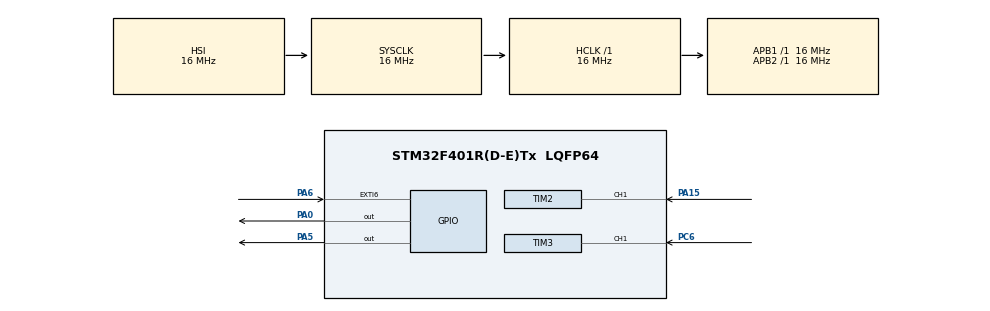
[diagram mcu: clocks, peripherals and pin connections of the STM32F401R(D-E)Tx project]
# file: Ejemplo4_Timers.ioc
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Mcu.Family=STM32F4
Mcu.Name=STM32F401R(D-E)Tx
Mcu.Package=LQFP64
NVIC.PriorityGroup=NVIC_PRIORITYGROUP_4
NVIC.TIM1_UP_TIM10_IRQn=true\:1\:0\:true\:false\:true\:true\:true\:true
PA0-WKUP.Signal=GPIO_Output
PA15.GPIO_PuPd=GPIO_NOPULL
PA15.Signal=S_TIM2_CH1_ETR
PA5.Signal=GPIO_Output
PA6.Signal=GPXTI6
PC6.Signal=S_TIM3_CH1
ProjectManager.HeapSize=0x200
ProjectManager.StackSize=0x400
ProjectManager.TargetToolchain=STM32CubeIDE
RCC.AHBFreq_Value=16000000
RCC.APB1Freq_Value=16000000
RCC.APB2Freq_Value=16000000
RCC.CortexFreq_Value=16000000
RCC.HSE_VALUE=25000000
RCC.HSI_VALUE=16000000
RCC.LSE_VALUE=32768
RCC.SYSCLKFreq_VALUE=16000000
RCC.VCOOutputFreq_Value=192000000
SH.S_TIM2_CH1_ETR.0=TIM2_CH1,TriggerSource_TI1FP1
SH.S_TIM3_CH1.0=TIM3_CH1,TriggerSource_TI1FP1
TIM1.Period=16000-1
TIM1.Prescaler=0
VP_TIM1_VS_ClockSourceINT.Mode=Internal
VP_TIM2_VS_ControllerModeClock.Mode=Clock Mode
VP_TIM3_VS_ControllerModeClock.Mode=Clock Mode
board=custom

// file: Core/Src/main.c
/* USER CODE BEGIN Header */
/**
  ******************************************************************************
  * @file           : main.c
  * @brief          : Main program body
  ******************************************************************************
  * @attention
  *
  * Copyright (c) 2022 STMicroelectronics.
  * All rights reserved.
  *
  * This software is licensed under terms that can be found in the LICENSE file
  * in the root directory of this software component.
  * If no LICENSE file comes with this software, it is provided AS-IS.
  *
  ******************************************************************************
  */
/* USER CODE END Header */
#include "main.h"

/* USER CODE BEGIN Includes */
#include "LCD_STM32.h"
/* USER CODE END Includes */

 TIM_HandleTypeDef htim1;
TIM_HandleTypeDef htim2;
TIM_HandleTypeDef htim3;

void SystemClock_Config(void);
static void MX_GPIO_Init(void);
static void MX_TIM1_Init(void);
static void MX_TIM2_Init(void);
static void MX_TIM3_Init(void);

int main(void)
{

  /* MCU Configuration--------------------------------------------------------*/

  /* Reset of all peripherals, Initializes the Flash interface and the Systick. */
  HAL_Init();

  /* Configure the system clock */
  SystemClock_Config();

  /* Initialize all configured peripherals */
  MX_GPIO_Init();
  MX_TIM1_Init();
  MX_TIM2_Init();
  MX_TIM3_Init();
  /* USER CODE BEGIN 2 */
  LCD_STM32_Init();
 // HAL_TIM_Base_Start_IT(&htim1);
  HAL_TIM_Base_Start(&htim3);
  uint32_t count;
  char str_cout[20];
  /* USER CODE END 2 */

  /* Infinite loop */
  /* USER CODE BEGIN WHILE */
  while (1)
  {

	  LCD_STM32_SetCursor(0, FILA1);
	  LCD_STM32_Print_String("Contador TIMER STM32");

	  count = __HAL_TIM_GET_COUNTER(&htim3);
	  sprintf(str_cout,"%05u",count);

	  LCD_STM32_SetCursor(0, FILA2);
	  LCD_STM32_Print_String(str_cout);

	  if (count == 101) {
		  __HAL_TIM_SET_COUNTER(&htim3,0);
	}

    /* USER CODE END WHILE */

  }
}

void SystemClock_Config(void)
{
  RCC_OscInitTypeDef RCC_OscInitStruct = {0};
  RCC_ClkInitTypeDef RCC_ClkInitStruct = {0};

  /** Configure the main internal regulator output voltage
  */
  __HAL_RCC_PWR_CLK_ENABLE();
  __HAL_PWR_VOLTAGESCALING_CONFIG(PWR_REGULATOR_VOLTAGE_SCALE2);

  /** Initializes the RCC Oscillators according to the specified parameters
  * in the RCC_OscInitTypeDef structure.
  */
  RCC_OscInitStruct.OscillatorType = RCC_OSCILLATORTYPE_HSI;
  RCC_OscInitStruct.HSIState = RCC_HSI_ON;
  RCC_OscInitStruct.HSICalibrationValue = RCC_HSICALIBRATION_DEFAULT;
  RCC_OscInitStruct.PLL.PLLState = RCC_PLL_NONE;
  if (HAL_RCC_OscConfig(&RCC_OscInitStruct) != HAL_OK)
  {
    Error_Handler();
  }

  /** Initializes the CPU, AHB and APB buses clocks
  */
  RCC_ClkInitStruct.ClockType = RCC_CLOCKTYPE_HCLK|RCC_CLOCKTYPE_SYSCLK
                              |RCC_CLOCKTYPE_PCLK1|RCC_CLOCKTYPE_PCLK2;
  RCC_ClkInitStruct.SYSCLKSource = RCC_SYSCLKSOURCE_HSI;
  RCC_ClkInitStruct.AHBCLKDivider = RCC_SYSCLK_DIV1;
  RCC_ClkInitStruct.APB1CLKDivider = RCC_HCLK_DIV1;
  RCC_ClkInitStruct.APB2CLKDivider = RCC_HCLK_DIV1;

  if (HAL_RCC_ClockConfig(&RCC_ClkInitStruct, FLASH_LATENCY_0) != HAL_OK)
  {
    Error_Handler();
  }
}

static void MX_TIM1_Init(void)
{

  TIM_ClockConfigTypeDef sClockSourceConfig = {0};
  TIM_MasterConfigTypeDef sMasterConfig = {0};

  htim1.Instance = TIM1;
  htim1.Init.Prescaler = 0;
  htim1.Init.CounterMode = TIM_COUNTERMODE_UP;
  htim1.Init.Period = 16000-1;
  htim1.Init.ClockDivision = TIM_CLOCKDIVISION_DIV1;
  htim1.Init.RepetitionCounter = 0;
  htim1.Init.AutoReloadPreload = TIM_AUTORELOAD_PRELOAD_DISABLE;
  if (HAL_TIM_Base_Init(&htim1) != HAL_OK)
  {
    Error_Handler();
  }
  sClockSourceConfig.ClockSource = TIM_CLOCKSOURCE_INTERNAL;
  if (HAL_TIM_ConfigClockSource(&htim1, &sClockSourceConfig) != HAL_OK)
  {
    Error_Handler();
  }
  sMasterConfig.MasterOutputTrigger = TIM_TRGO_RESET;
  sMasterConfig.MasterSlaveMode = TIM_MASTERSLAVEMODE_DISABLE;
  if (HAL_TIMEx_MasterConfigSynchronization(&htim1, &sMasterConfig) != HAL_OK)
  {
    Error_Handler();
  }

}

static void MX_TIM2_Init(void)
{

  TIM_SlaveConfigTypeDef sSlaveConfig = {0};
  TIM_MasterConfigTypeDef sMasterConfig = {0};

  htim2.Instance = TIM2;
  htim2.Init.Prescaler = 0;
  htim2.Init.CounterMode = TIM_COUNTERMODE_UP;
  htim2.Init.Period = 4294967295;
  htim2.Init.ClockDivision = TIM_CLOCKDIVISION_DIV1;
  htim2.Init.AutoReloadPreload = TIM_AUTORELOAD_PRELOAD_DISABLE;
  if (HAL_TIM_Base_Init(&htim2) != HAL_OK)
  {
    Error_Handler();
  }
  sSlaveConfig.SlaveMode = TIM_SLAVEMODE_EXTERNAL1;
  sSlaveConfig.InputTrigger = TIM_TS_TI1FP1;
  sSlaveConfig.TriggerPolarity = TIM_TRIGGERPOLARITY_RISING;
  sSlaveConfig.TriggerFilter = 0;
  if (HAL_TIM_SlaveConfigSynchro(&htim2, &sSlaveConfig) != HAL_OK)
  {
    Error_Handler();
  }
  sMasterConfig.MasterOutputTrigger = TIM_TRGO_RESET;
  sMasterConfig.MasterSlaveMode = TIM_MASTERSLAVEMODE_DISABLE;
  if (HAL_TIMEx_MasterConfigSynchronization(&htim2, &sMasterConfig) != HAL_OK)
  {
    Error_Handler();
  }

}

static void MX_TIM3_Init(void)
{

  TIM_SlaveConfigTypeDef sSlaveConfig = {0};
  TIM_MasterConfigTypeDef sMasterConfig = {0};

  htim3.Instance = TIM3;
  htim3.Init.Prescaler = 0;
  htim3.Init.CounterMode = TIM_COUNTERMODE_UP;
  htim3.Init.Period = 65535;
  htim3.Init.ClockDivision = TIM_CLOCKDIVISION_DIV1;
  htim3.Init.AutoReloadPreload = TIM_AUTORELOAD_PRELOAD_DISABLE;
  if (HAL_TIM_Base_Init(&htim3) != HAL_OK)
  {
    Error_Handler();
  }
  sSlaveConfig.SlaveMode = TIM_SLAVEMODE_EXTERNAL1;
  sSlaveConfig.InputTrigger = TIM_TS_TI1FP1;
  sSlaveConfig.TriggerPolarity = TIM_TRIGGERPOLARITY_RISING;
  sSlaveConfig.TriggerFilter = 0;
  if (HAL_TIM_SlaveConfigSynchro(&htim3, &sSlaveConfig) != HAL_OK)
  {
    Error_Handler();
  }
  sMasterConfig.MasterOutputTrigger = TIM_TRGO_RESET;
  sMasterConfig.MasterSlaveMode = TIM_MASTERSLAVEMODE_DISABLE;
  if (HAL_TIMEx_MasterConfigSynchronization(&htim3, &sMasterConfig) != HAL_OK)
  {
    Error_Handler();
  }

}

static void MX_GPIO_Init(void)
{
  GPIO_InitTypeDef GPIO_InitStruct = {0};

  /* GPIO Ports Clock Enable */
  __HAL_RCC_GPIOA_CLK_ENABLE();
  __HAL_RCC_GPIOC_CLK_ENABLE();

  /*Configure GPIO pin Output Level */
  HAL_GPIO_WritePin(GPIOA, GPIO_PIN_0|GPIO_PIN_5, GPIO_PIN_RESET);

  /*Configure GPIO pins : PA0 PA5 */
  GPIO_InitStruct.Pin = GPIO_PIN_0|GPIO_PIN_5;
  GPIO_InitStruct.Mode = GPIO_MODE_OUTPUT_PP;
  GPIO_InitStruct.Pull = GPIO_NOPULL;
  GPIO_InitStruct.Speed = GPIO_SPEED_FREQ_LOW;
  HAL_GPIO_Init(GPIOA, &GPIO_InitStruct);

  /*Configure GPIO pin : PA6 */
  GPIO_InitStruct.Pin = GPIO_PIN_6;
  GPIO_InitStruct.Mode = GPIO_MODE_IT_RISING;
  GPIO_InitStruct.Pull = GPIO_NOPULL;
  HAL_GPIO_Init(GPIOA, &GPIO_InitStruct);

}

/* USER CODE BEGIN 4 */

void HAL_TIM_PeriodElapsedCallback(TIM_HandleTypeDef *htim){

	if (htim == &htim1) {

		GPIOA->ODR^=(1<<5);

	}

}

/* USER CODE END 4 */

void Error_Handler(void)
{
  __disable_irq();
  while (1)
  {
  }
}
